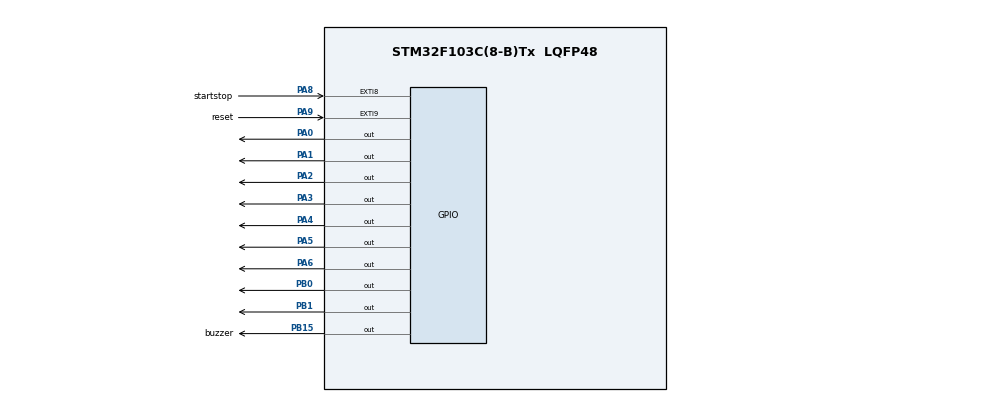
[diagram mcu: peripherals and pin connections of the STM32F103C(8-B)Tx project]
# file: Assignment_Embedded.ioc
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Mcu.Family=STM32F1
Mcu.Name=STM32F103C(8-B)Tx
Mcu.Package=LQFP48
NVIC.EXTI9_5_IRQn=true\:0\:0\:false\:false\:true\:true\:true\:true
NVIC.PriorityGroup=NVIC_PRIORITYGROUP_4
PA0-WKUP.Signal=GPIO_Output
PA1.Signal=GPIO_Output
PA13.Mode=Serial_Wire
PA13.Signal=SYS_JTMS-SWDIO
PA14.Mode=Serial_Wire
PA14.Signal=SYS_JTCK-SWCLK
PA2.Signal=GPIO_Output
PA3.Signal=GPIO_Output
PA4.Signal=GPIO_Output
PA5.Signal=GPIO_Output
PA6.Signal=GPIO_Output
PA8.GPIO_Label=startstop
PA8.GPIO_ModeDefaultEXTI=GPIO_MODE_IT_FALLING
PA8.GPIO_PuPd=GPIO_PULLUP
PA8.Signal=GPXTI8
PA9.GPIO_Label=reset
PA9.GPIO_ModeDefaultEXTI=GPIO_MODE_IT_FALLING
PA9.GPIO_PuPd=GPIO_PULLUP
PA9.Signal=GPXTI9
PB0.Signal=GPIO_Output
PB1.Signal=GPIO_Output
PB15.GPIO_Label=buzzer
PB15.Signal=GPIO_Output
PC14-OSC32_IN.Mode=LSE-External-Oscillator
PC14-OSC32_IN.Signal=RCC_OSC32_IN
PC15-OSC32_OUT.Mode=LSE-External-Oscillator
PC15-OSC32_OUT.Signal=RCC_OSC32_OUT
PD0-OSC_IN.Mode=HSE-External-Oscillator
PD0-OSC_IN.Signal=RCC_OSC_IN
PD1-OSC_OUT.Mode=HSE-External-Oscillator
PD1-OSC_OUT.Signal=RCC_OSC_OUT
ProjectManager.HeapSize=0x200
ProjectManager.StackSize=0x400
ProjectManager.TargetToolchain=STM32CubeIDE
RCC.APB1Freq_Value=8000000
RCC.APB2Freq_Value=8000000
board=custom

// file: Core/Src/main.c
/* USER CODE BEGIN Header */
/**
  ******************************************************************************
  * @file           : main.c
  * @brief          : Main program body
  ******************************************************************************
  * @attention
  *
  * Copyright (c) 2026 STMicroelectronics.
  * All rights reserved.
  *
  * This software is licensed under terms that can be found in the LICENSE file
  * in the root directory of this software component.
  * If no LICENSE file comes with this software, it is provided AS-IS.
  *
  ******************************************************************************
  */
/* USER CODE END Header */
#include "main.h"

void SystemClock_Config(void);
static void MX_GPIO_Init(void);

/* USER CODE BEGIN 0 */

//DAY LA CODE CHO LED 7 DOAN COMMON-ANODE (DUONG CHUNG)
uint8_t seg[10] =
{
	0xC0, //0
	0xF9, //1
	0xA4, //2
	0xB0, //3
	0x99, //4
	0x92, //5
	0x82, //6
	0xF8, //7
	0x80, //8
	0x90, //9
};

typedef struct
{
	GPIO_TypeDef *GPIOx;
	uint16_t GPIO_Pin;
} led7;

typedef struct
{
	led7 led[7]; // 7 chan chung a b c d e f g
	led7 COM1;  // nguon cho led 1 (led hang` chuc)
	led7 COM2;  // nguon cho led 2 (led hang` don vi)
}LED7_;

void Displayyy(LED7_ *hled, uint8_t num) //ham display xai chung cho 2 den`
{
	uint8_t data= seg[num];

	for (int i = 0; i<7 ; i++)
	{
		uint8_t bit= (data >> i) & 0x01;
		HAL_GPIO_WritePin(
				hled->led[i].GPIOx,
				hled->led[i].GPIO_Pin,
				bit);
	}
}

void Displayled1(LED7_ *hled, uint8_t num) //Hien thi len led hang chuc
{
	HAL_GPIO_WritePin(
	            hled->COM2.GPIOx,
	            hled->COM2.GPIO_Pin,
	            GPIO_PIN_RESET); // tat led hang chuc
	Displayyy(hled, num);
	HAL_GPIO_WritePin(
	            hled->COM1.GPIOx,
	            hled->COM1.GPIO_Pin,
	            GPIO_PIN_SET); //bat led hang don vi
}

void Displayled2(LED7_ *hled, uint8_t num) //Hien thi len led hang don vi
{
	HAL_GPIO_WritePin(
	            hled->COM1.GPIOx,
	            hled->COM1.GPIO_Pin,
	            GPIO_PIN_RESET);
	Displayyy(hled, num);
	HAL_GPIO_WritePin(
	            hled->COM2.GPIOx,
	            hled->COM2.GPIO_Pin,
	            GPIO_PIN_SET);
}

void Display2led(LED7_ *hled, uint8_t num) //Ket hop 2 led
{
	uint8_t chuc = num / 10;
	uint8_t donvi = num % 10;

	Displayled1(hled, chuc);
	HAL_Delay(1);

	Displayled2(hled, donvi);
	HAL_Delay(1);
}

// CAC BUTTON CHUC NANG
uint8_t dem = 0;
uint8_t running = 0;
uint32_t now = 0;

void HAL_GPIO_EXTI_Callback(uint16_t GPIO_Pin)
{
	// CHONG DEBOUNCE
	static uint32_t lastTick = 0;

	if(HAL_GetTick() - lastTick < 200) return;
	lastTick = HAL_GetTick();

	if (GPIO_Pin == startstop_Pin)
	{
		running = !running;
	}

	if (GPIO_Pin == reset_Pin)
	{
		dem = 0;
		running = 0;
		now = HAL_GetTick();

		HAL_GPIO_WritePin(buzzer_GPIO_Port, buzzer_Pin, 0);
	}
}

/* USER CODE END 0 */

int main(void)
{

  /* MCU Configuration--------------------------------------------------------*/

  /* Reset of all peripherals, Initializes the Flash interface and the Systick. */
  HAL_Init();

  /* USER CODE BEGIN Init */
  	LED7_ initled;

	//DOAN A
	initled.led[0].GPIOx = GPIOA;
	initled.led[0].GPIO_Pin = GPIO_PIN_0;
	// DOAN B
	initled.led[1].GPIOx = GPIOA;
	initled.led[1].GPIO_Pin = GPIO_PIN_1;
	//DOAN C
	initled.led[2].GPIOx = GPIOA;
	initled.led[2].GPIO_Pin = GPIO_PIN_2;
	//DOAN D
	initled.led[3].GPIOx = GPIOA;
	initled.led[3].GPIO_Pin = GPIO_PIN_3;
	//DOAN E
	initled.led[4].GPIOx = GPIOA;
	initled.led[4].GPIO_Pin = GPIO_PIN_4;
	//DOAN F
	initled.led[5].GPIOx = GPIOA;
	initled.led[5].GPIO_Pin = GPIO_PIN_5;
	//DOAN G
	initled.led[6].GPIOx = GPIOA;
	initled.led[6].GPIO_Pin = GPIO_PIN_6;
	//COM 1
	initled.COM1.GPIOx = GPIOB;
	initled.COM1.GPIO_Pin = GPIO_PIN_0;
	//COM 2
	initled.COM2.GPIOx = GPIOB;
	initled.COM2.GPIO_Pin = GPIO_PIN_1;
  /* USER CODE END Init */

  /* Configure the system clock */
  SystemClock_Config();

  /* Initialize all configured peripherals */
  MX_GPIO_Init();

  /* Infinite loop */
  while (1)
  {

    /* USER CODE BEGIN 3 */
	  Display2led(&initled, dem);

	  if (running)
	  {
		  if(HAL_GetTick() - now >= 500)
		  {
			  now = HAL_GetTick();

			  if (dem < 99)
			  {
				  dem++;
			  }
			  else
			  {
				  running = 0;
				  HAL_GPIO_WritePin(buzzer_GPIO_Port, buzzer_Pin, 1);
			  }
		  }
	  }
  }
  /* USER CODE END 3 */
}

void SystemClock_Config(void)
{
  RCC_OscInitTypeDef RCC_OscInitStruct = {0};
  RCC_ClkInitTypeDef RCC_ClkInitStruct = {0};

  /** Initializes the RCC Oscillators according to the specified parameters
  * in the RCC_OscInitTypeDef structure.
  */
  RCC_OscInitStruct.OscillatorType = RCC_OSCILLATORTYPE_HSI;
  RCC_OscInitStruct.HSIState = RCC_HSI_ON;
  RCC_OscInitStruct.HSICalibrationValue = RCC_HSICALIBRATION_DEFAULT;
  RCC_OscInitStruct.PLL.PLLState = RCC_PLL_NONE;
  if (HAL_RCC_OscConfig(&RCC_OscInitStruct) != HAL_OK)
  {
    Error_Handler();
  }

  /** Initializes the CPU, AHB and APB buses clocks
  */
  RCC_ClkInitStruct.ClockType = RCC_CLOCKTYPE_HCLK|RCC_CLOCKTYPE_SYSCLK
                              |RCC_CLOCKTYPE_PCLK1|RCC_CLOCKTYPE_PCLK2;
  RCC_ClkInitStruct.SYSCLKSource = RCC_SYSCLKSOURCE_HSI;
  RCC_ClkInitStruct.AHBCLKDivider = RCC_SYSCLK_DIV1;
  RCC_ClkInitStruct.APB1CLKDivider = RCC_HCLK_DIV1;
  RCC_ClkInitStruct.APB2CLKDivider = RCC_HCLK_DIV1;

  if (HAL_RCC_ClockConfig(&RCC_ClkInitStruct, FLASH_LATENCY_0) != HAL_OK)
  {
    Error_Handler();
  }
}

static void MX_GPIO_Init(void)
{
  GPIO_InitTypeDef GPIO_InitStruct = {0};

  /* GPIO Ports Clock Enable */
  __HAL_RCC_GPIOC_CLK_ENABLE();
  __HAL_RCC_GPIOD_CLK_ENABLE();
  __HAL_RCC_GPIOA_CLK_ENABLE();
  __HAL_RCC_GPIOB_CLK_ENABLE();

  /*Configure GPIO pin Output Level */
  HAL_GPIO_WritePin(GPIOA, GPIO_PIN_0|GPIO_PIN_1|GPIO_PIN_2|GPIO_PIN_3
                          |GPIO_PIN_4|GPIO_PIN_5|GPIO_PIN_6, GPIO_PIN_RESET);

  /*Configure GPIO pin Output Level */
  HAL_GPIO_WritePin(GPIOB, GPIO_PIN_0|GPIO_PIN_1|buzzer_Pin, GPIO_PIN_RESET);

  /*Configure GPIO pins : PA0 PA1 PA2 PA3
                           PA4 PA5 PA6 */
  GPIO_InitStruct.Pin = GPIO_PIN_0|GPIO_PIN_1|GPIO_PIN_2|GPIO_PIN_3
                          |GPIO_PIN_4|GPIO_PIN_5|GPIO_PIN_6;
  GPIO_InitStruct.Mode = GPIO_MODE_OUTPUT_PP;
  GPIO_InitStruct.Pull = GPIO_NOPULL;
  GPIO_InitStruct.Speed = GPIO_SPEED_FREQ_LOW;
  HAL_GPIO_Init(GPIOA, &GPIO_InitStruct);

  /*Configure GPIO pins : PB0 PB1 buzzer_Pin */
  GPIO_InitStruct.Pin = GPIO_PIN_0|GPIO_PIN_1|buzzer_Pin;
  GPIO_InitStruct.Mode = GPIO_MODE_OUTPUT_PP;
  GPIO_InitStruct.Pull = GPIO_NOPULL;
  GPIO_InitStruct.Speed = GPIO_SPEED_FREQ_LOW;
  HAL_GPIO_Init(GPIOB, &GPIO_InitStruct);

  /*Configure GPIO pins : startstop_Pin reset_Pin */
  GPIO_InitStruct.Pin = startstop_Pin|reset_Pin;
  GPIO_InitStruct.Mode = GPIO_MODE_IT_FALLING;
  GPIO_InitStruct.Pull = GPIO_PULLUP;
  HAL_GPIO_Init(GPIOA, &GPIO_InitStruct);

  /* EXTI interrupt init*/
  HAL_NVIC_SetPriority(EXTI9_5_IRQn, 0, 0);
  HAL_NVIC_EnableIRQ(EXTI9_5_IRQn);

}

void Error_Handler(void)
{
  __disable_irq();
  while (1)
  {
  }
}
